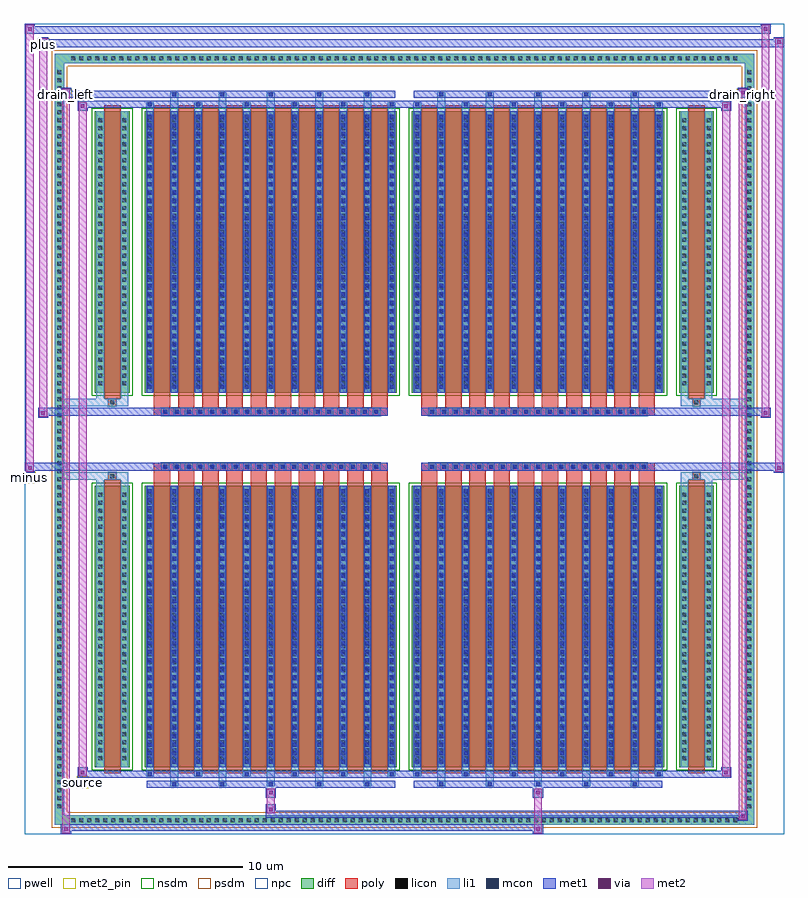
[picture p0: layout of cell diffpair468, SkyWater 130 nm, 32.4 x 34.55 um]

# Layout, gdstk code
import gdstk
lib = gdstk.Library(unit=1e-6, precision=5e-09)
def R(c, l, rs):  # rectangles x0, y0, x1, y1
    for r in rs: c.add(gdstk.rectangle(r[:2], r[2:], *l))
def A(c, l, x, y, w, h, nx, ny, dx, dy):  # array of equal rectangles
    R(c, l, [(x+i*dx, y+j*dy, x+i*dx+w, y+j*dy+h) for i in range(nx) for j in range(ny)])
def P(c, l, *ps):  # polygons
    for p in ps: c.add(gdstk.Polygon(p, *l))
pwell = (64, 44)
diff = (65, 20)
poly = (66, 20)
licon = (66, 44)
li1 = (67, 20)
mcon = (67, 44)
met1 = (68, 20)
via = (68, 44)
met2_pin = (69, 16)
met2 = (69, 20)
nsdm = (93, 44)
psdm = (94, 20)
npc = (95, 20)

diffpair468 = lib.new_cell('diffpair468')
R(diffpair468, pwell, [(-16.18,-16.84,16.18,17.71), (-13.5,-15.03,-0.01,-0.805), (0.01,-15.03,13.5,-0.805), (-13.5,0.805,-0.01,15.03), (0.01,0.805,13.5,15.03)])
A(diffpair468, diff, -14.315, -16.44, 0.41, 0.41, 84, 2, 0.34, 32.47)
A(diffpair468, diff, -14.91, -15.845, 0.41, 0.41, 1, 93, 0, 0.34)
A(diffpair468, diff, 14.5, -15.845, 0.41, 0.41, 1, 93, 0, 0.34)
R(diffpair468, diff, [(-14.315,-16.44,14.315,-16.03), (-14.91,-15.845,-14.5,15.845), (14.5,-15.845,14.91,15.845), (-13.19,-13.985,-11.71,-1.985), (-11.07,-13.985,-0.32,-1.985), (0.32,-13.985,11.07,-1.985), (11.71,-13.985,13.19,-1.985), (-13.19,1.985,-11.71,13.985), (-11.07,1.985,-0.32,13.985), (0.32,1.985,11.07,13.985), (11.71,1.985,13.19,13.985), (-14.315,16.03,14.315,16.44)])
P(diffpair468, diff, [(14.91,16.44),(-14.91,16.44),(-14.91,-16.03),(-14.5,-16.03),(-14.5,16.03),(14.5,16.03),(14.5,-16.03),(-14.5,-16.03),(-14.91,-16.03),(-14.91,-16.44),(14.91,-16.44)])
A(diffpair468, poly, -10.68, -14.235, 0.7, 12.5, 10, 2, 1.03, 15.97)
A(diffpair468, poly, 0.71, -14.235, 0.7, 12.5, 10, 2, 1.03, 15.97)
A(diffpair468, poly, -10.68, -1.735, 0.7, 0.4, 10, 2, 1.03, 3.07)
A(diffpair468, poly, 0.71, -1.735, 0.7, 0.4, 10, 2, 1.03, 3.07)
A(diffpair468, poly, -10.36, -1.335, 0.33, 0.33, 19, 2, 0.5, 2.34)
A(diffpair468, poly, 1.03, -1.335, 0.33, 0.33, 19, 2, 0.5, 2.34)
R(diffpair468, poly, [(-12.8,-14.235,-12.1,-1.735), (12.1,-14.235,12.8,-1.735), (-12.615,-1.735,-12.285,-1.405), (-12.615,-1.735,-12.285,-1.405), (12.285,-1.735,12.615,-1.405), (12.285,-1.735,12.615,-1.405), (-10.68,-1.335,-0.71,-1.005), (0.71,-1.335,10.68,-1.005), (-10.68,1.005,-0.71,1.335), (0.71,1.005,10.68,1.335), (-12.615,1.405,-12.285,1.735), (-12.615,1.405,-12.285,1.735), (12.285,1.405,12.615,1.735), (12.285,1.405,12.615,1.735), (-12.8,1.735,-12.1,14.235), (12.1,1.735,12.8,14.235)])
A(diffpair468, licon, -14.195, -16.32, 0.17, 0.17, 84, 2, 0.34, 32.47)
A(diffpair468, licon, -14.79, -15.725, 0.17, 0.17, 1, 93, 0, 0.34)
A(diffpair468, licon, 14.62, -15.725, 0.17, 0.17, 1, 93, 0, 0.34)
A(diffpair468, licon, -13.05, -13.68, 0.17, 0.17, 1, 34, 0, 0.34)
A(diffpair468, licon, -12.02, -13.68, 0.17, 0.17, 1, 34, 0, 0.34)
A(diffpair468, licon, -10.93, -13.68, 0.17, 0.17, 11, 34, 1.03, 0.34)
A(diffpair468, licon, 0.46, -13.68, 0.17, 0.17, 11, 34, 1.03, 0.34)
A(diffpair468, licon, 11.85, -13.68, 0.17, 0.17, 1, 34, 0, 0.34)
A(diffpair468, licon, 12.88, -13.68, 0.17, 0.17, 1, 34, 0, 0.34)
A(diffpair468, licon, -10.28, -1.255, 0.17, 0.17, 19, 2, 0.5, 2.34)
A(diffpair468, licon, 1.11, -1.255, 0.17, 0.17, 19, 2, 0.5, 2.34)
A(diffpair468, licon, -13.05, 2.29, 0.17, 0.17, 1, 34, 0, 0.34)
A(diffpair468, licon, -12.02, 2.29, 0.17, 0.17, 1, 34, 0, 0.34)
A(diffpair468, licon, -10.93, 2.29, 0.17, 0.17, 11, 34, 1.03, 0.34)
A(diffpair468, licon, 0.46, 2.29, 0.17, 0.17, 11, 34, 1.03, 0.34)
A(diffpair468, licon, 11.85, 2.29, 0.17, 0.17, 1, 34, 0, 0.34)
A(diffpair468, licon, 12.88, 2.29, 0.17, 0.17, 1, 34, 0, 0.34)
R(diffpair468, licon, [(-12.535,-1.655,-12.365,-1.485), (12.365,-1.655,12.535,-1.485), (-12.535,1.485,-12.365,1.655), (12.365,1.485,12.535,1.655)])
A(diffpair468, li1, -14.275, -16.4, 0.33, 0.33, 84, 2, 0.34, 32.47)
A(diffpair468, li1, -14.87, -15.805, 0.33, 0.33, 1, 93, 0, 0.34)
A(diffpair468, li1, 14.54, -15.805, 0.33, 0.33, 1, 93, 0, 0.34)
A(diffpair468, li1, -9.98, -14.79, 0.33, 0.805, 5, 2, 2.06, 28.775)
A(diffpair468, li1, -9.9, -14.79, 0.17, 0.17, 5, 2, 2.06, 29.41)
A(diffpair468, li1, 1.41, -14.79, 0.33, 0.805, 5, 2, 2.06, 28.775)
A(diffpair468, li1, 1.49, -14.79, 0.17, 0.17, 5, 2, 2.06, 29.41)
A(diffpair468, li1, -11.01, -14.36, 0.33, 0.375, 6, 2, 2.06, 28.345)
A(diffpair468, li1, -10.93, -14.36, 0.17, 0.17, 6, 2, 2.06, 28.55)
A(diffpair468, li1, 0.38, -14.36, 0.33, 0.375, 6, 2, 2.06, 28.345)
A(diffpair468, li1, 0.46, -14.36, 0.17, 0.17, 6, 2, 2.06, 28.55)
A(diffpair468, li1, -11.01, -13.985, 0.33, 12, 11, 2, 1.03, 15.97)
A(diffpair468, li1, 0.38, -13.985, 0.33, 12, 11, 2, 1.03, 15.97)
A(diffpair468, li1, -10.93, -13.83, 0.17, 0.17, 11, 33, 1.03, 0.36)
A(diffpair468, li1, -10.93, -13.83, 0.17, 11.69, 11, 2, 1.03, 15.97)
A(diffpair468, li1, 0.46, -13.83, 0.17, 0.17, 11, 33, 1.03, 0.36)
A(diffpair468, li1, 0.46, -13.83, 0.17, 11.69, 11, 2, 1.03, 15.97)
A(diffpair468, li1, -13.13, -13.76, 0.33, 0.33, 1, 34, 0, 0.34)
A(diffpair468, li1, -12.1, -13.76, 0.33, 0.33, 1, 34, 0, 0.34)
A(diffpair468, li1, -11.01, -13.76, 0.33, 0.33, 11, 34, 1.03, 0.34)
A(diffpair468, li1, 0.38, -13.76, 0.33, 0.33, 11, 34, 1.03, 0.34)
A(diffpair468, li1, 11.77, -13.76, 0.33, 0.33, 1, 34, 0, 0.34)
A(diffpair468, li1, 12.8, -13.76, 0.33, 0.33, 1, 34, 0, 0.34)
A(diffpair468, li1, -10.36, -1.335, 0.33, 0.33, 19, 2, 0.5, 2.34)
A(diffpair468, li1, 1.03, -1.335, 0.33, 0.33, 19, 2, 0.5, 2.34)
A(diffpair468, li1, -10.93, 2.14, 0.17, 0.17, 11, 33, 1.03, 0.36)
A(diffpair468, li1, 0.46, 2.14, 0.17, 0.17, 11, 33, 1.03, 0.36)
A(diffpair468, li1, -13.13, 2.21, 0.33, 0.33, 1, 34, 0, 0.34)
A(diffpair468, li1, -12.1, 2.21, 0.33, 0.33, 1, 34, 0, 0.34)
A(diffpair468, li1, -11.01, 2.21, 0.33, 0.33, 11, 34, 1.03, 0.34)
A(diffpair468, li1, 0.38, 2.21, 0.33, 0.33, 11, 34, 1.03, 0.34)
A(diffpair468, li1, 11.77, 2.21, 0.33, 0.33, 1, 34, 0, 0.34)
A(diffpair468, li1, 12.8, 2.21, 0.33, 0.33, 1, 34, 0, 0.34)
R(diffpair468, li1, [(-14.91,-16.44,-14.5,-16.03), (-14.91,-16.44,-14.5,-16.03), (-14.5,-16.44,14.5,-16.03), (14.5,-16.44,14.91,-16.03), (14.5,-16.44,14.91,-16.03), (-14.91,-16.03,-14.5,16.03), (14.5,-16.03,14.91,16.03), (-13.13,-13.985,-12.8,-1.985), (-12.1,-13.985,-11.77,-1.985), (11.77,-13.985,12.1,-1.985), (12.8,-13.985,13.13,-1.985), (-13.13,-1.985,-12.8,-1.405), (-12.1,-1.985,-11.77,-1.405), (11.77,-1.985,12.1,-1.405), (12.8,-1.985,13.13,-1.405), (-14.91,-1.735,-12.615,-1.405), (-13.13,-1.735,-12.615,-1.405), (-12.615,-1.735,-12.285,-1.405), (-12.285,-1.735,-11.77,-1.405), (11.77,-1.735,12.285,-1.405), (12.285,-1.735,12.615,-1.405), (12.285,-1.735,14.91,-1.405), (12.615,-1.735,13.13,-1.405), (-14.91,1.405,-12.615,1.735), (-13.13,1.405,-12.615,1.735), (-13.13,1.405,-12.8,1.985), (-12.615,1.405,-12.285,1.735), (-12.285,1.405,-11.77,1.735), (-12.1,1.405,-11.77,1.985), (11.77,1.405,12.285,1.735), (11.77,1.405,12.1,1.985), (12.285,1.405,12.615,1.735), (12.285,1.405,14.91,1.735), (12.615,1.405,13.13,1.735), (12.8,1.405,13.13,1.985), (-13.13,1.985,-12.8,13.985), (-12.1,1.985,-11.77,13.985), (11.77,1.985,12.1,13.985), (12.8,1.985,13.13,13.985), (-14.91,16.03,-14.5,16.44), (-14.91,16.03,-14.5,16.44), (-14.5,16.03,14.5,16.44), (14.5,16.03,14.91,16.44), (14.5,16.03,14.91,16.44)])
A(diffpair468, mcon, -9.9, -14.79, 0.17, 0.17, 5, 2, 2.06, 29.41)
A(diffpair468, mcon, 1.49, -14.79, 0.17, 0.17, 5, 2, 2.06, 29.41)
A(diffpair468, mcon, -10.93, -14.36, 0.17, 0.17, 6, 2, 2.06, 28.55)
A(diffpair468, mcon, 0.46, -14.36, 0.17, 0.17, 6, 2, 2.06, 28.55)
A(diffpair468, mcon, -10.93, -13.83, 0.17, 0.17, 11, 33, 1.03, 0.36)
A(diffpair468, mcon, 0.46, -13.83, 0.17, 0.17, 11, 33, 1.03, 0.36)
A(diffpair468, mcon, -10.28, -1.255, 0.17, 0.17, 19, 2, 0.5, 2.34)
A(diffpair468, mcon, 1.11, -1.255, 0.17, 0.17, 19, 2, 0.5, 2.34)
A(diffpair468, mcon, -10.93, 2.14, 0.17, 0.17, 11, 33, 1.03, 0.36)
A(diffpair468, mcon, 0.46, 2.14, 0.17, 0.17, 11, 33, 1.03, 0.36)
A(diffpair468, met1, -9.96, -14.85, 0.29, 0.29, 5, 2, 2.06, 29.41)
A(diffpair468, met1, 1.43, -14.85, 0.29, 0.29, 5, 2, 2.06, 29.41)
A(diffpair468, met1, -10.99, -14.42, 0.29, 0.29, 6, 2, 2.06, 28.55)
A(diffpair468, met1, 0.4, -14.42, 0.29, 0.29, 6, 2, 2.06, 28.55)
A(diffpair468, met1, -10.99, -13.985, 0.29, 12, 11, 2, 1.03, 15.97)
A(diffpair468, met1, 0.4, -13.985, 0.29, 12, 11, 2, 1.03, 15.97)
A(diffpair468, met1, -10.99, -13.89, 0.29, 0.29, 11, 33, 1.03, 0.36)
A(diffpair468, met1, 0.4, -13.89, 0.29, 0.29, 11, 33, 1.03, 0.36)
A(diffpair468, met1, -10.34, -1.315, 0.29, 0.29, 19, 2, 0.5, 2.34)
A(diffpair468, met1, 1.05, -1.315, 0.29, 0.29, 19, 2, 0.5, 2.34)
A(diffpair468, met1, -10.99, 2.08, 0.29, 0.29, 11, 33, 1.03, 0.36)
A(diffpair468, met1, 0.4, 2.08, 0.29, 0.29, 11, 33, 1.03, 0.36)
R(diffpair468, met1, [(-14.64,-16.84,-14.21,-16.41), (5.48,-16.84,5.91,-16.41), (-14.64,-16.7,5.91,-16.41), (14.21,-16.27,14.64,-15.84), (-5.91,-16.13,14.64,-15.84), (-5.91,-15.99,-5.48,-15.56), (-5.91,-15.28,-5.48,-14.85), (5.48,-15.28,5.91,-14.85), (-10.99,-14.85,-0.4,-14.56), (0.4,-14.85,10.99,-14.56), (-13.93,-14.42,-13.5,-13.99), (-13.93,-14.42,-10.99,-14.13), (-10.99,-14.42,-0.4,-14.13), (-0.4,-14.42,0.4,-14.13), (0.4,-14.42,10.99,-14.13), (10.99,-14.42,13.93,-14.13), (13.5,-14.42,13.93,-13.99), (-16.18,-1.435,-15.75,-1.005), (15.75,-1.435,16.18,-1.005), (-16.18,-1.335,-0.71,-1.005), (-10.68,-1.335,-0.71,-1.005), (0.71,-1.335,10.68,-1.005), (0.71,-1.335,16.18,-1.005), (-15.61,0.905,-15.18,1.335), (15.18,0.905,15.61,1.335), (-15.61,1.005,-10.68,1.335), (-10.68,1.005,-0.71,1.335), (0.71,1.005,10.68,1.335), (10.68,1.005,15.61,1.335), (-13.93,13.99,-13.5,14.42), (13.5,13.99,13.93,14.42), (-13.93,14.13,-10.99,14.42), (-10.99,14.13,-0.4,14.42), (-0.4,14.13,0.4,14.42), (0.4,14.13,10.99,14.42), (10.99,14.13,13.93,14.42), (-14.64,14.56,-14.21,14.99), (-14.64,14.56,-10.99,14.85), (-10.99,14.56,-0.4,14.85), (0.4,14.56,10.99,14.85), (10.99,14.56,14.64,14.85), (14.21,14.56,14.64,14.99), (-15.61,16.71,-15.18,17.14), (-15.61,16.71,-13.5,17.04), (-13.5,16.71,13.5,17.04), (13.5,16.71,16.18,17.04), (15.75,16.71,16.18,17.14), (-16.18,17.28,-15.75,17.71), (-16.18,17.28,-13.5,17.61), (-13.5,17.28,13.5,17.61), (13.5,17.28,15.61,17.61), (15.18,17.28,15.61,17.71)])
R(diffpair468, via, [(-14.5,-16.7,-14.35,-16.55), (5.62,-16.7,5.77,-16.55), (14.35,-16.13,14.5,-15.98), (-5.77,-15.85,-5.62,-15.7), (-5.77,-15.14,-5.62,-14.99), (5.62,-15.14,5.77,-14.99), (-13.79,-14.28,-13.64,-14.13), (13.64,-14.28,13.79,-14.13), (-16.04,-1.295,-15.89,-1.145), (15.89,-1.295,16.04,-1.145), (-15.47,1.045,-15.32,1.195), (15.32,1.045,15.47,1.195), (-13.79,14.13,-13.64,14.28), (13.64,14.13,13.79,14.28), (-14.5,14.7,-14.35,14.85), (14.35,14.7,14.5,14.85), (-15.47,16.85,-15.32,17), (15.89,16.85,16.04,17), (-16.04,17.42,-15.89,17.57), (15.32,17.42,15.47,17.57)])
R(diffpair468, met2_pin, [(-13.965,-14.87,-13.465,-14.37), (-16.215,-1.885,-15.715,-1.385), (-14.675,14.44,-14.175,14.94), (14.175,14.44,14.675,14.94), (-15.645,16.59,-15.145,17.09)])
R(diffpair468, met2, [(-14.59,-16.79,-14.26,-16.46), (-14.59,-16.79,-14.26,14.94), (5.53,-16.79,5.86,-16.46), (5.53,-16.46,5.86,-15.23), (14.26,-16.22,14.59,-15.89), (14.26,-16.22,14.59,14.94), (-5.86,-15.94,-5.53,-15.61), (-5.86,-15.61,-5.53,-15.23), (-5.86,-15.23,-5.53,-14.9), (5.53,-15.23,5.86,-14.9), (-13.88,-14.37,-13.55,-14.04), (-13.88,-14.37,-13.55,14.37), (13.55,-14.37,13.88,-14.04), (13.55,-14.37,13.88,14.37), (-16.13,-1.385,-15.8,-1.055), (-16.13,-1.385,-15.8,17.66), (15.8,-1.385,16.13,-1.055), (15.8,-1.385,16.13,17.09), (-15.56,0.955,-15.23,1.285), (-15.56,0.955,-15.23,17.09), (15.23,0.955,15.56,1.285), (15.23,0.955,15.56,17.66), (-13.88,14.04,-13.55,14.37), (13.55,14.04,13.88,14.37), (-14.59,14.61,-14.26,14.94), (14.26,14.61,14.59,14.94), (-15.56,16.76,-15.23,17.09), (15.8,16.76,16.13,17.09), (-16.13,17.33,-15.8,17.66), (15.23,17.33,15.56,17.66)])
P(diffpair468, met2, [(16.13,-1.385),(16.13,-1.385),(16.13,-1.055),(16.13,-1.055)],
  [(16.13,16.76),(16.13,16.76),(16.13,17.09),(16.13,17.09)],
  [(-15.8,-1.385),(-15.8,-1.385),(-15.8,-1.055),(-15.8,-1.055)],
  [(-15.8,17.33),(-15.8,17.33),(-15.8,17.66),(-15.8,17.66)],
  [(15.56,0.955),(15.56,0.955),(15.56,1.285),(15.56,1.285)],
  [(15.56,17.33),(15.56,17.33),(15.56,17.66),(15.56,17.66)],
  [(-15.23,0.955),(-15.23,0.955),(-15.23,1.285),(-15.23,1.285)],
  [(-15.23,16.76),(-15.23,16.76),(-15.23,17.09),(-15.23,17.09)],
  [(-14.26,-16.79),(-14.26,-16.79),(-14.26,-16.46),(-14.26,-16.46)],
  [(-14.26,14.61),(-14.26,14.61),(-14.26,14.94),(-14.26,14.94)],
  [(14.59,-16.22),(14.59,-16.22),(14.59,-15.89),(14.59,-15.89)],
  [(14.59,14.61),(14.59,14.61),(14.59,14.94),(14.59,14.94)],
  [(-13.55,-14.37),(-13.55,-14.37),(-13.55,-14.04),(-13.55,-14.04)],
  [(-13.55,14.04),(-13.55,14.04),(-13.55,14.37),(-13.55,14.37)],
  [(13.88,-14.37),(13.88,-14.37),(13.88,-14.04),(13.88,-14.04)],
  [(13.88,14.04),(13.88,14.04),(13.88,14.37),(13.88,14.37)])
R(diffpair468, nsdm, [(-13.32,-14.115,-11.58,-1.855), (-11.2,-14.115,-0.19,-1.855), (0.19,-14.115,11.2,-1.855), (11.58,-14.115,13.32,-1.855), (-13.32,1.855,-11.58,14.115), (-11.2,1.855,-0.19,14.115), (0.19,1.855,11.2,14.115), (11.58,1.855,13.32,14.115)])
P(diffpair468, psdm, [(15.04,16.57),(-15.04,16.57),(-15.04,-15.9),(-14.37,-15.9),(-14.37,15.9),(14.37,15.9),(14.37,-15.9),(-14.37,-15.9),(-15.04,-15.9),(-15.04,-16.57),(15.04,-16.57)])
A(diffpair468, npc, -10.38, -1.355, 0.37, 0.37, 19, 2, 0.5, 2.34)
A(diffpair468, npc, 1.01, -1.355, 0.37, 0.37, 19, 2, 0.5, 2.34)
R(diffpair468, npc, [(-12.635,-1.755,-12.265,-1.385), (12.265,-1.755,12.635,-1.385), (-10.38,-1.355,-9.51,-0.985), (-10.38,-1.355,-9.51,-0.985), (-9.88,-1.355,-9.01,-0.985), (-9.88,-1.355,-9.01,-0.985), (-9.38,-1.355,-8.51,-0.985), (-9.38,-1.355,-8.51,-0.985), (-8.88,-1.355,-8.01,-0.985), (-8.88,-1.355,-8.01,-0.985), (-8.38,-1.355,-7.51,-0.985), (-8.38,-1.355,-7.51,-0.985), (-7.88,-1.355,-7.01,-0.985), (-7.88,-1.355,-7.01,-0.985), (-7.38,-1.355,-6.51,-0.985), (-7.38,-1.355,-6.51,-0.985), (-6.88,-1.355,-6.01,-0.985), (-6.88,-1.355,-6.01,-0.985), (-6.38,-1.355,-5.51,-0.985), (-6.38,-1.355,-5.51,-0.985), (-5.88,-1.355,-5.01,-0.985), (-5.88,-1.355,-5.01,-0.985), (-5.38,-1.355,-4.51,-0.985), (-5.38,-1.355,-4.51,-0.985), (-4.88,-1.355,-4.01,-0.985), (-4.88,-1.355,-4.01,-0.985), (-4.38,-1.355,-3.51,-0.985), (-4.38,-1.355,-3.51,-0.985), (-3.88,-1.355,-3.01,-0.985), (-3.88,-1.355,-3.01,-0.985), (-3.38,-1.355,-2.51,-0.985), (-3.38,-1.355,-2.51,-0.985), (-2.88,-1.355,-2.01,-0.985), (-2.88,-1.355,-2.01,-0.985), (-2.38,-1.355,-1.51,-0.985), (-2.38,-1.355,-1.51,-0.985), (-1.88,-1.355,-1.01,-0.985), (-1.88,-1.355,-1.01,-0.985), (1.01,-1.355,1.88,-0.985), (1.01,-1.355,1.88,-0.985), (1.51,-1.355,2.38,-0.985), (1.51,-1.355,2.38,-0.985), (2.01,-1.355,2.88,-0.985), (2.01,-1.355,2.88,-0.985), (2.51,-1.355,3.38,-0.985), (2.51,-1.355,3.38,-0.985), (3.01,-1.355,3.88,-0.985), (3.01,-1.355,3.88,-0.985), (3.51,-1.355,4.38,-0.985), (3.51,-1.355,4.38,-0.985), (4.01,-1.355,4.88,-0.985), (4.01,-1.355,4.88,-0.985), (4.51,-1.355,5.38,-0.985), (4.51,-1.355,5.38,-0.985), (5.01,-1.355,5.88,-0.985), (5.01,-1.355,5.88,-0.985), (5.51,-1.355,6.38,-0.985), (5.51,-1.355,6.38,-0.985), (6.01,-1.355,6.88,-0.985), (6.01,-1.355,6.88,-0.985), (6.51,-1.355,7.38,-0.985), (6.51,-1.355,7.38,-0.985), (7.01,-1.355,7.88,-0.985), (7.01,-1.355,7.88,-0.985), (7.51,-1.355,8.38,-0.985), (7.51,-1.355,8.38,-0.985), (8.01,-1.355,8.88,-0.985), (8.01,-1.355,8.88,-0.985), (8.51,-1.355,9.38,-0.985), (8.51,-1.355,9.38,-0.985), (9.01,-1.355,9.88,-0.985), (9.01,-1.355,9.88,-0.985), (9.51,-1.355,10.38,-0.985), (9.51,-1.355,10.38,-0.985), (-10.38,0.985,-9.51,1.355), (-10.38,0.985,-9.51,1.355), (-9.88,0.985,-9.01,1.355), (-9.88,0.985,-9.01,1.355), (-9.38,0.985,-8.51,1.355), (-9.38,0.985,-8.51,1.355), (-8.88,0.985,-8.01,1.355), (-8.88,0.985,-8.01,1.355), (-8.38,0.985,-7.51,1.355), (-8.38,0.985,-7.51,1.355), (-7.88,0.985,-7.01,1.355), (-7.88,0.985,-7.01,1.355), (-7.38,0.985,-6.51,1.355), (-7.38,0.985,-6.51,1.355), (-6.88,0.985,-6.01,1.355), (-6.88,0.985,-6.01,1.355), (-6.38,0.985,-5.51,1.355), (-6.38,0.985,-5.51,1.355), (-5.88,0.985,-5.01,1.355), (-5.88,0.985,-5.01,1.355), (-5.38,0.985,-4.51,1.355), (-5.38,0.985,-4.51,1.355), (-4.88,0.985,-4.01,1.355), (-4.88,0.985,-4.01,1.355), (-4.38,0.985,-3.51,1.355), (-4.38,0.985,-3.51,1.355), (-3.88,0.985,-3.01,1.355), (-3.88,0.985,-3.01,1.355), (-3.38,0.985,-2.51,1.355), (-3.38,0.985,-2.51,1.355), (-2.88,0.985,-2.01,1.355), (-2.88,0.985,-2.01,1.355), (-2.38,0.985,-1.51,1.355), (-2.38,0.985,-1.51,1.355), (-1.88,0.985,-1.01,1.355), (-1.88,0.985,-1.01,1.355), (1.01,0.985,1.88,1.355), (1.01,0.985,1.88,1.355), (1.51,0.985,2.38,1.355), (1.51,0.985,2.38,1.355), (2.01,0.985,2.88,1.355), (2.01,0.985,2.88,1.355), (2.51,0.985,3.38,1.355), (2.51,0.985,3.38,1.355), (3.01,0.985,3.88,1.355), (3.01,0.985,3.88,1.355), (3.51,0.985,4.38,1.355), (3.51,0.985,4.38,1.355), (4.01,0.985,4.88,1.355), (4.01,0.985,4.88,1.355), (4.51,0.985,5.38,1.355), (4.51,0.985,5.38,1.355), (5.01,0.985,5.88,1.355), (5.01,0.985,5.88,1.355), (5.51,0.985,6.38,1.355), (5.51,0.985,6.38,1.355), (6.01,0.985,6.88,1.355), (6.01,0.985,6.88,1.355), (6.51,0.985,7.38,1.355), (6.51,0.985,7.38,1.355), (7.01,0.985,7.88,1.355), (7.01,0.985,7.88,1.355), (7.51,0.985,8.38,1.355), (7.51,0.985,8.38,1.355), (8.01,0.985,8.88,1.355), (8.01,0.985,8.88,1.355), (8.51,0.985,9.38,1.355), (8.51,0.985,9.38,1.355), (9.01,0.985,9.88,1.355), (9.01,0.985,9.88,1.355), (9.51,0.985,10.38,1.355), (9.51,0.985,10.38,1.355), (-12.635,1.385,-12.265,1.755), (12.265,1.385,12.635,1.755)])
diffpair468.add(gdstk.Label('minus', (-15.965,-1.635), layer=69, texttype=5))
diffpair468.add(gdstk.Label('drain_right', (14.425,14.69), layer=69, texttype=5))
diffpair468.add(gdstk.Label('drain_left', (-14.425,14.69), layer=69, texttype=5))
diffpair468.add(gdstk.Label('source', (-13.715,-14.62), layer=69, texttype=5))
diffpair468.add(gdstk.Label('plus', (-15.395,16.84), layer=69, texttype=5))

lib.write_gds('diffpair468.gds')
